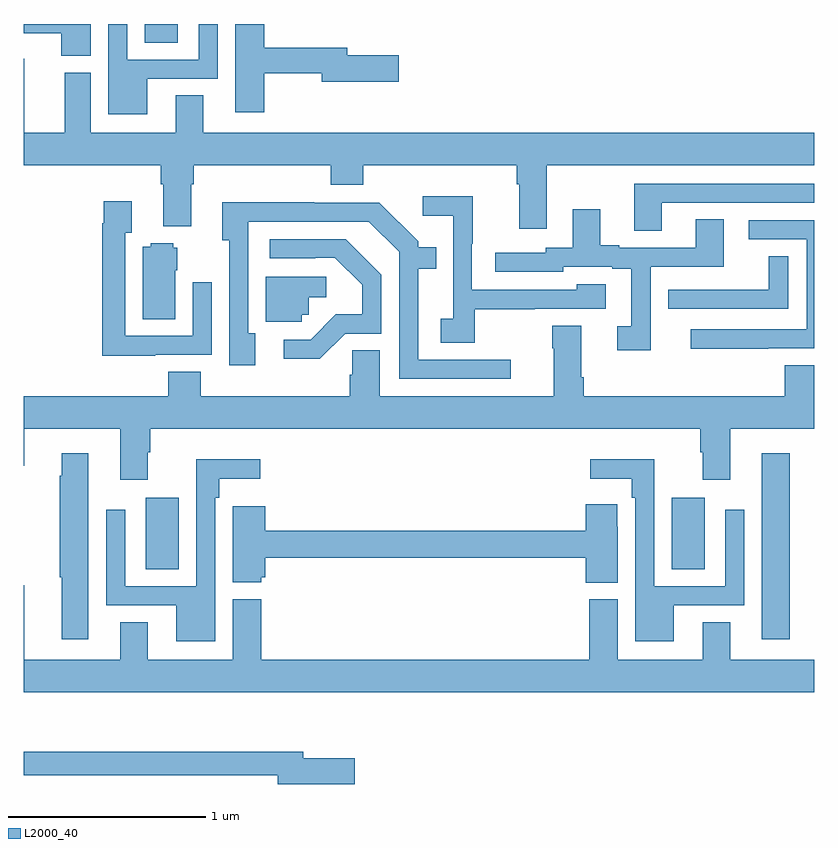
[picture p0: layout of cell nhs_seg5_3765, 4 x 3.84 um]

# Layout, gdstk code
import gdstk
lib = gdstk.Library(unit=1e-6, precision=1e-09)
def R(c, l, rs):  # rectangles x0, y0, x1, y1
    for r in rs: c.add(gdstk.rectangle(r[:2], r[2:], *l))
def P(c, l, *ps):  # polygons
    for p in ps: c.add(gdstk.Polygon(p, *l))
L2000_40 = (2000, 40)

nhs_seg5_3765 = lib.new_cell('nhs_seg5_3765')
R(nhs_seg5_3765, L2000_40, [(336.734,863.688,336.876,864.628), (333.617,864.04,333.784,864.403), (336.278,864.04,336.445,864.403), (333.614,866.704,333.781,866.799)])
P(nhs_seg5_3765, L2000_40, [(333.34,866.799),(333,866.799),(333,866.753),(333.191,866.753),(333.191,866.638),(333.34,866.638)],
  [(334.217,866.55),(334.508,866.55),(334.508,866.507),(334.897,866.507),(334.897,866.642),(334.636,866.642),(334.636,866.678),(334.217,866.678),(334.217,866.799),(334.07,866.799),(334.07,866.352),(334.217,866.352)],
  [(333.625,866.523),(333.981,866.523),(333.981,866.799),(333.885,866.799),(333.885,866.619),(333.525,866.619),(333.525,866.799),(333.429,866.799),(333.429,866.342),(333.625,866.342)],
  [(335.647,866.084),(337,866.084),(337,866.248),(333.91,866.248),(333.91,866.438),(333.77,866.438),(333.77,866.248),(333.34,866.248),(333.34,866.553),(333.209,866.553),(333.209,866.248),(333.004,866.248),(333.004,866.623),(333,866.623),(333,866.084),(333.695,866.084),(333.695,865.988),(333.707,865.988),(333.707,865.775),(333.847,865.775),(333.847,865.988),(333.86,865.988),(333.86,866.084),(334.553,866.084),(334.553,865.985),(334.718,865.985),(334.718,866.084),(335.495,866.084),(335.495,865.988),(335.507,865.988),(335.507,865.764),(335.647,865.764)],
  [(336.229,865.896),(337,865.896),(337,865.992),(336.089,865.992),(336.089,865.753),(336.229,865.753)],
  [(335.281,865.357),(335.585,865.357),(335.585,865.359),(335.944,865.359),(335.944,865.483),(335.799,865.483),(335.799,865.455),(335.268,865.455),(335.268,865.688),(335.271,865.688),(335.271,865.927),(335.019,865.927),(335.019,865.829),(335.172,865.829),(335.172,865.308),(335.109,865.308),(335.109,865.186),(335.281,865.186)],
  [(333.667,865.125),(333.951,865.125),(333.951,865.492),(333.855,865.492),(333.855,865.221),(333.513,865.221),(333.513,865.742),(333.547,865.742),(333.547,865.903),(333.405,865.903),(333.405,865.79),(333.397,865.79),(333.397,865.121),(333.667,865.121)],
  [(335.464,865.101),(334.996,865.101),(334.996,865.56),(335.087,865.56),(335.087,865.669),(334.995,865.669),(334.995,865.701),(334.8,865.896),(334.469,865.896),(334.469,865.898),(334.004,865.898),(334.004,865.706),(334.041,865.706),(334.041,865.074),(334.171,865.074),(334.171,865.234),(334.137,865.234),(334.137,865.8),(334.746,865.8),(334.899,865.647),(334.899,865.005),(335.464,865.005)],
  [(336.171,865.572),(336.541,865.572),(336.541,865.811),(336.401,865.811),(336.401,865.668),(336.013,865.668),(336.013,865.681),(335.917,865.681),(335.917,865.861),(335.777,865.861),(335.777,865.668),(335.64,865.668),(335.64,865.641),(335.385,865.641),(335.385,865.545),(335.73,865.545),(335.73,865.572),(335.978,865.572),(335.978,865.56),(336.074,865.56),(336.074,865.269),(336.003,865.269),(336.003,865.149),(336.171,865.149)],
  [(336.767,865.158),(337,865.158),(337,865.806),(336.669,865.806),(336.669,865.71),(336.96,865.71),(336.96,865.254),(336.375,865.254),(336.375,865.156),(336.767,865.156)],
  [(334.626,865.233),(334.809,865.233),(334.809,865.531),(334.63,865.71),(334.245,865.71),(334.245,865.614),(334.475,865.614),(334.475,865.617),(334.575,865.617),(334.712,865.48),(334.712,865.33),(334.579,865.33),(334.452,865.203),(334.317,865.203),(334.317,865.106),(334.498,865.106)],
  [(333.766,865.554),(333.778,865.554),(333.778,865.668),(333.756,865.668),(333.756,865.69),(333.642,865.69),(333.642,865.672),(333.602,865.672),(333.602,865.306),(333.766,865.306)],
  [(336.867,865.625),(336.769,865.625),(336.769,865.455),(336.373,865.455),(336.373,865.454),(336.261,865.454),(336.261,865.359),(336.867,865.359)],
  [(334.407,865.329),(334.443,865.329),(334.443,865.418),(334.531,865.418),(334.531,865.521),(334.226,865.521),(334.226,865.293),(334.407,865.293)],
  [(333.628,864.632),(333.641,864.632),(333.641,864.752),(336.422,864.752),(336.422,864.632),(336.434,864.632),(336.434,864.495),(336.574,864.495),(336.574,864.752),(337,864.752),(337,865.073),(336.851,865.073),(336.851,864.916),(335.834,864.916),(335.834,865.012),(335.821,865.012),(335.821,865.273),(335.674,865.273),(335.674,865.16),(335.681,865.16),(335.681,864.916),(334.801,864.916),(334.801,865.148),(334.663,865.148),(334.663,865.026),(334.649,865.026),(334.649,864.916),(333.896,864.916),(333.896,865.04),(333.731,865.04),(333.731,864.916),(333,864.916),(333,864.564),(333.004,864.564),(333.004,864.752),(333.488,864.752),(333.488,864.495),(333.628,864.495)],
  [(333.328,864.628),(333.194,864.628),(333.194,864.515),(333.182,864.515),(333.182,864),(333.194,864),(333.194,863.688),(333.328,863.688)],
  [(333.969,864.404),(333.989,864.404),(333.989,864.5),(334.198,864.5),(334.198,864.598),(333.873,864.598),(333.873,863.955),(333.513,863.955),(333.513,864.343),(333.417,864.343),(333.417,863.859),(333.773,863.859),(333.773,863.678),(333.969,863.678)],
  [(336.289,863.859),(336.645,863.859),(336.645,864.343),(336.549,864.343),(336.549,863.955),(336.189,863.955),(336.189,864.598),(335.865,864.598),(335.865,864.5),(336.077,864.5),(336.077,864.404),(336.093,864.404),(336.093,863.678),(336.289,863.678)],
  [(336.004,864.257),(336.003,864.257),(336.003,864.37),(335.843,864.37),(335.843,864.236),(334.222,864.236),(334.222,864.361),(334.058,864.361),(334.058,863.975),(334.203,863.975),(334.203,864),(334.222,864),(334.222,864.1),(335.843,864.1),(335.843,863.974),(336.004,863.974)],
  [(337,863.584),(336.574,863.584),(336.574,863.774),(336.434,863.774),(336.434,863.584),(336.004,863.584),(336.004,863.889),(335.861,863.889),(335.861,863.584),(334.202,863.584),(334.202,863.89),(334.058,863.89),(334.058,863.584),(333.628,863.584),(333.628,863.774),(333.488,863.774),(333.488,863.584),(333.004,863.584),(333.004,863.959),(333,863.959),(333,863.42),(337,863.42)],
  [(334.675,863.085),(334.414,863.085),(334.414,863.119),(333,863.119),(333,862.998),(334.286,862.998),(334.286,862.955),(334.675,862.955)])

lib.write_gds('nhs_seg5_3765.gds')
